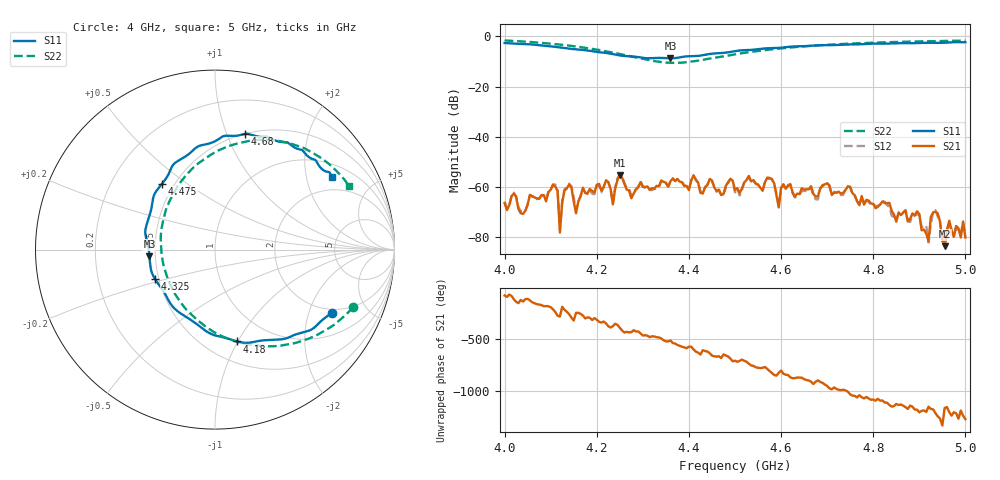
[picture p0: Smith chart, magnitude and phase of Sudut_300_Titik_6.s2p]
# Hz S RI R 50
! CMT, C1220, 16058040, 17.2.0/1
! Date: 15/08/2018 12:13:58
! Data: Format (Calibration Info)
! Freq  S11: Re/Im (F2)  S21: Re/Im (F2)  S12: Re/Im (F2)  S22: Re/Im (F2)
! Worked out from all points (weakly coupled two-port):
!   201 points, 4 GHz to 5 GHz, reference 50 ohm
!   highest |S21| = -55.29 dB at 4.25 GHz (marker M1); lowest = -83.5 dB at 4.955 GHz (marker M2)
!   lowest |S11| = -8.7 dB at 4.36 GHz (marker M3), VSWR 2.16, Z = 23.2 - j2.02 ohm
!   |S11| at or under -10 dB: nowhere
!   |S22| runs from -10.5 to -1.6 dB; largest |S21 - S12| = 0.00016
!   S11 on the Smith chart (normalised r, x): 4 GHz: 1.83, -2.87; 4.18 GHz: 0.70, -0.99; 4.325 GHz: 0.48, -0.18; 4.475 GHz: 0.43, +0.41; 4.68 GHz: 0.50, +1.16; 5 GHz: 1.44, +2.83
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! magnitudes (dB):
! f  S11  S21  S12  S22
! 4 GHz  -2.6  -66.3  -65.7  -1.6
! 4.105 GHz  -4.0  -59.1  -58.8  -3.0
! 4.115 GHz  -4.2  -61.5  -61.2  -3.1
! 4.12 GHz  -4.4  -78.0  -76.8  -3.2
! 4.13 GHz  -4.6  -61.3  -60.8  -3.4
! 4.155 GHz  -5.1  -70.4  -69.0  -4.0
! 4.17 GHz  -5.4  -60.2  -60.6  -4.4
! 4.18 GHz  -5.6  -62.4  -62.7  -4.7
! 4.235 GHz  -7.0  -66.8  -66.6  -6.4
! 4.25 GHz  -7.5  -55.3  -55.0  -7.0
! 4.325 GHz  -8.6  -60.5  -60.7  -9.8
! 4.335 GHz  -8.5  -59.6  -60.1  -10.1
! 4.36 GHz  -8.7  -57.6  -57.7  -10.5
! 4.475 GHz  -6.5  -62.7  -62.6  -7.9
! 4.5 GHz  -5.8  -61.1  -62.1  -7.1
! 4.67 GHz  -3.6  -62.6  -63.5  -3.7
! 4.68 GHz  -3.5  -63.5  -64.9  -3.5
! 4.835 GHz  -2.8  -66.2  -67.8  -2.3
! 4.92 GHz  -2.5  -81.4  -82.0  -1.9
! 4.935 GHz  -2.6  -69.7  -69.2  -1.8
! 4.955 GHz  -2.5  -83.5  -82.5  -1.8
! 5 GHz  -2.3  -80.0  -79.9  -1.6
